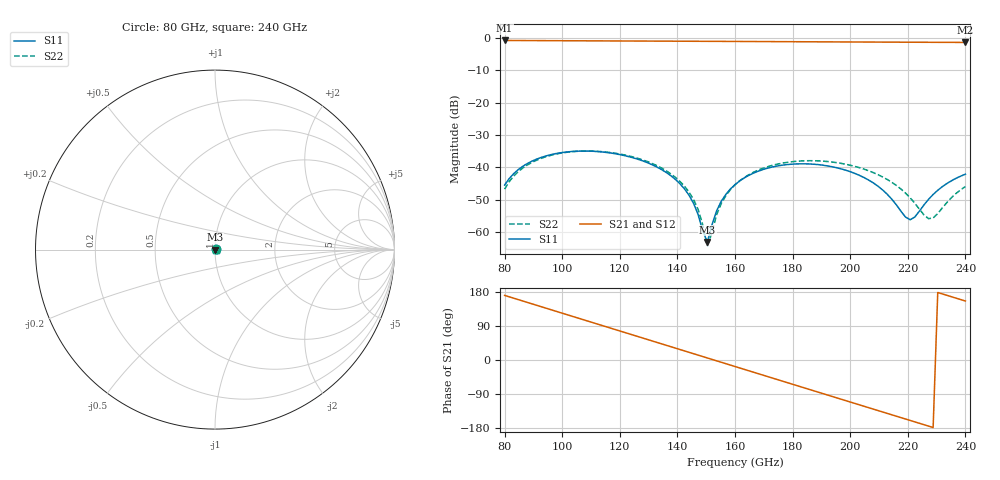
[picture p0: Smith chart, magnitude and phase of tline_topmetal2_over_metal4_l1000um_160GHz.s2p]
#  GHZ S DB R 50
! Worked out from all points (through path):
!   101 points, 80 GHz to 240 GHz, reference 50 ohm
!   highest |S21| = -0.71 dB at 80 GHz (marker M1); lowest = -1.3 dB at 240 GHz (marker M2)
!   group delay of S21, straight-line fit = 6.51 ps
!   lowest |S11| = -63.1 dB at 150.4 GHz (marker M3), VSWR 1.00, Z = 50 - j0.0572 ohm
!   |S11| at or under -10 dB: start of sweep to end of sweep
!   |S22| runs from -64.4 to -34.9 dB; largest |S21 - S12| = 1.5e-13
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80  -45.47 7.1  -0.71 170.5  -0.71 170.5  -46.77 8.5
83.2  -41.91 1.1  -0.73 163.0  -0.73 163.0  -42.67 1.8
89.6  -38.04 -13.1  -0.75 148.0  -0.75 148.0  -38.42 -13.0
99.2  -35.52 -35.5  -0.79 125.4  -0.79 125.4  -35.66 -35.8
107.2  -34.95 -54.2  -0.82 106.6  -0.82 106.6  -34.96 -54.8
120  -36.05 -83.6  -0.87 76.6  -0.87 76.6  -35.87 -84.6
134.4  -40.63 -115.7  -0.92 42.9  -0.92 42.9  -40.17 -117.4
140.8  -45.00 -128.4  -0.95 27.9  -0.95 27.9  -44.28 -131.0
145.6  -51.13 -132.9  -0.96 16.6  -0.96 16.6  -49.93 -137.8
148.8  -59.74 -113.8  -0.98 9.1  -0.98 9.1  -57.77 -129.7
150.4  -63.13 -55.0  -0.98 5.4  -0.98 5.4  -64.40 -87.3
153.6  -53.49 -5.5  -0.99 -2.2  -0.99 -2.2  -54.71 -6.4
156.8  -48.39 -5.1  -1.01 -9.7  -1.01 -9.7  -48.78 -5.4
160  -45.35 -10.2  -1.02 -17.2  -1.02 -17.2  -45.42 -10.6
171.2  -40.28 -35.5  -1.06 -43.4  -1.06 -43.4  -39.84 -36.4
187.2  -39.03 -76.6  -1.13 -80.9  -1.13 -80.9  -37.95 -77.5
203.2  -42.47 -121.6  -1.20 -118.3  -1.20 -118.3  -40.10 -121.0
214.4  -49.81 -166.6  -1.24 -144.5  -1.24 -144.5  -44.60 -156.0
220.8  -56.24 115.9  -1.26 -159.5  -1.26 -159.5  -49.42 175.3
227.2  -49.91 38.4  -1.28 -174.4  -1.28 -174.4  -55.89 105.8
228.8  -48.40 29.4  -1.29 -178.2  -1.29 -178.2  -55.69 77.7
240  -42.11 -12.4  -1.32 155.6  -1.32 155.6  -45.95 -8.7
